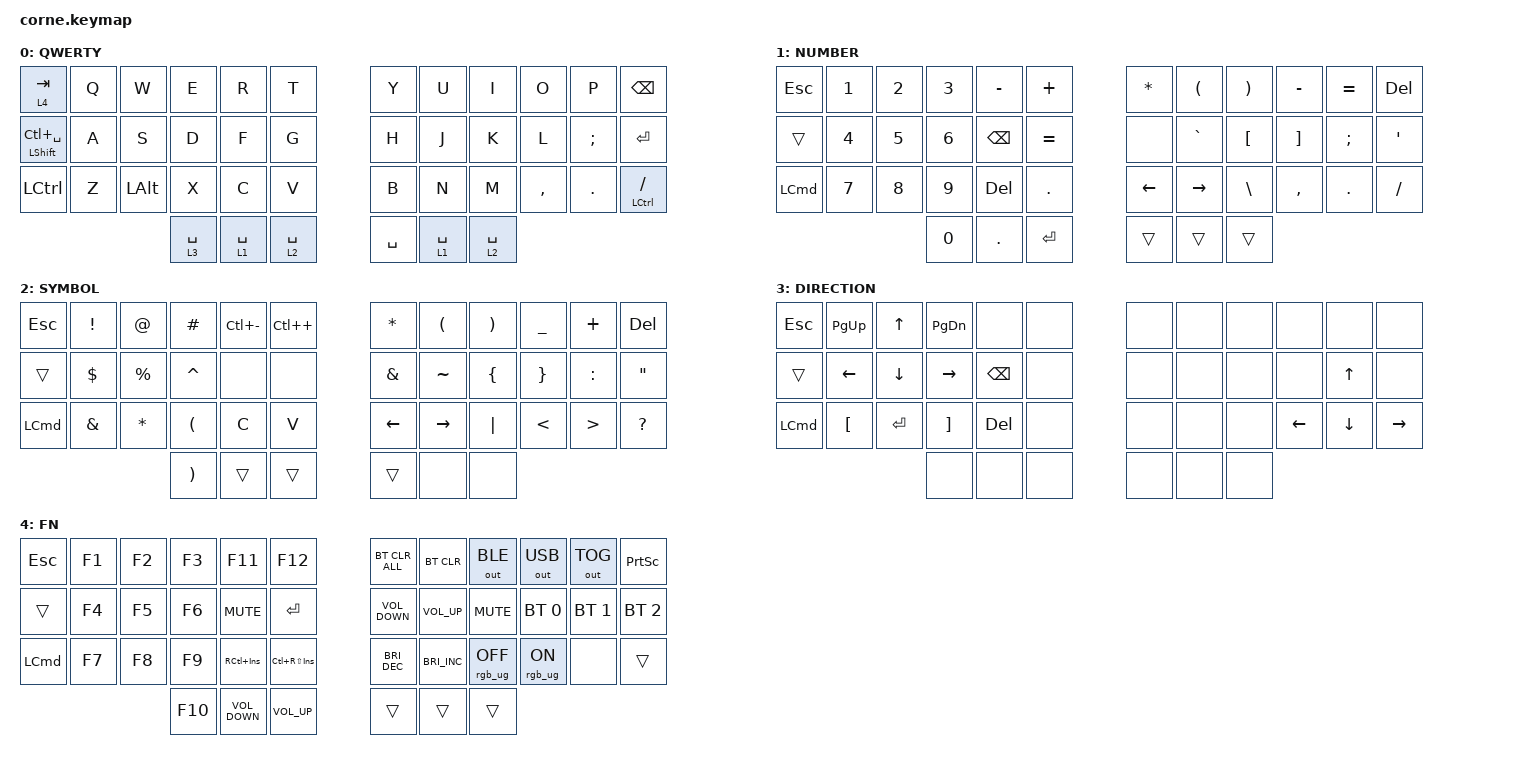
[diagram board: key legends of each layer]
/*
 * Copyright (c) 2020 The ZMK Contributors
 *
 * SPDX-License-Identifier: MIT
 */

#include <behaviors.dtsi>
#include <dt-bindings/zmk/bt.h>
#include <dt-bindings/zmk/keys.h>
#include <dt-bindings/zmk/outputs.h>
#include <dt-bindings/zmk/rgb.h>

/ {
    chosen {
        zmk,matrix_transform = &default_transform;

        // zmk,matrix_transform = &five_column_transform;
    };
};

/ {
    behaviors {
        td0: td0 {
            compatible = "zmk,behavior-tap-dance";
            label = "TD0";
            #binding-cells = <0>;
            bindings = <&kp LEFT_SHIFT>, <&kp CAPS>;
        };
    };

    keymap {
        compatible = "zmk,keymap";

        default_layer {
            display-name = "QWERTY";

            // --------------------------------------------------------------------------------
            // |  TAB |  Q  |  W  |  E  |  R  |  T  |   |  Y  |  U   |  I  |  O  |  P  | BKSP |
            // | CTRL |  A  |  S  |  D  |  F  |  G  |   |  H  |  J   |  K  |  L  |  ;  |  '   | 
            // | SHFT |  Z  |  X  |  C  |  V  |  B  |   |  N  |  M   |  ,  |  .  |  /  | ESC  |
            //                    | GUI | LWR | SPC |   | ENT | RSE  | ALT |

            bindings = <
&lt 4 TAB                 &kp Q  &kp W         &kp E        &kp R        &kp T          &kp Y      &kp U        &kp I        &kp O      &kp P     &kp BSPC
&mt LEFT_SHIFT LC(SPACE)  &kp A  &kp S         &kp D        &kp F        &kp G          &kp H      &kp J        &kp K        &kp L      &kp SEMI  &kp ENTER
&kp LCTRL                 &kp Z  &kp LEFT_ALT  &kp X        &kp C        &kp V          &kp B      &kp N        &kp M        &kp COMMA  &kp DOT   &mt LCTRL SLASH
                                               &lt 3 SPACE  &lt 1 SPACE  &lt 2 SPACE    &kp SPACE  &lt 1 SPACE  &lt 2 SPACE
            >;
        };

        lower_layer {
            display-name = "NUMBER";

            // -----------------------------------------------------------------------------------------
            // |  TAB |  1  |  2  |  3  |  4  |  5  |   |  6  |  7  |  8  |  9  |  0  | BKSP |
            // | BTCLR| BT1 | BT2 | BT3 | BT4 | BT5 |   | LFT | DWN |  UP | RGT |     |      |
            // | SHFT |     |     |     |     |     |   |     |     |     |     |     |      |
            //                    | GUI |     | SPC |   | ENT |     | ALT |

            bindings = <
&kp ESC           &kp NUMBER_1  &kp NUMBER_2  &kp NUMBER_3  &kp MINUS      &kp PLUS     &kp STAR  &kp LPAR   &kp RPAR       &kp MINUS  &kp EQUAL      &kp DELETE
&trans            &kp NUMBER_4  &kp NUMBER_5  &kp NUMBER_6  &kp BACKSPACE  &kp EQUAL    &none     &kp GRAVE  &kp LBKT       &kp RBKT   &kp SEMICOLON  &kp SQT
&kp LEFT_COMMAND  &kp NUMBER_7  &kp NUMBER_8  &kp NUMBER_9  &kp DELETE     &kp DOT      &kp LEFT  &kp RIGHT  &kp BACKSLASH  &kp COMMA  &kp DOT        &kp SLASH
                                              &kp NUMBER_0  &kp DOT        &kp ENTER    &trans    &trans     &trans
            >;
        };

        raise_layer {
            display-name = "SYMBOL";

            // -----------------------------------------------------------------------------------------
            // |  TAB |  !  |  @  |  #  |  $  |  %  |   |  ^  |  &  |  *  |  (  |  )  | BKSP |
            // | CTRL |     |     |     |     |     |   |  -  |  =  |  [  |  ]  |  \  |  `   |
            // | SHFT |     |     |     |     |     |   |  _  |  +  |  {  |  }  | "|" |  ~   |
            //                    | GUI |     | SPC |   | ENT |     | ALT |

            bindings = <
&kp ESCAPE        &kp EXCL  &kp AT     &kp HASH   &kp LC(MINUS)  &kp LC(PLUS)    &kp STAR  &kp LPAR   &kp RPAR  &kp UNDERSCORE  &kp PLUS   &kp DEL
&trans            &kp DLLR  &kp PRCNT  &kp CARET  &none          &none           &kp AMPS  &kp TILDE  &kp LBRC  &kp RBRC        &kp COLON  &kp DQT
&kp LEFT_COMMAND  &kp AMPS  &kp STAR   &kp LPAR   &kp C          &kp V           &kp LEFT  &kp RIGHT  &kp PIPE  &kp LT          &kp GT     &kp QMARK
                                       &kp RPAR   &trans         &trans          &trans    &none      &none
            >;
        };

        direction_layer {
            bindings = <
&kp ESC           &kp PAGE_UP       &kp UP     &kp PAGE_DOWN      &none          &none    &none  &none  &none  &none     &none     &none
&trans            &kp LEFT          &kp DOWN   &kp RIGHT          &kp BACKSPACE  &none    &none  &none  &none  &none     &kp UP    &none
&kp LEFT_COMMAND  &kp LEFT_BRACKET  &kp ENTER  &kp RIGHT_BRACKET  &kp DEL        &none    &none  &none  &none  &kp LEFT  &kp DOWN  &kp RIGHT
                                               &none              &none          &none    &none  &none  &none
            >;

            label = "DIRECTION";
        };

        F_layer {
            bindings = <
&kp ESCAPE        &kp F1  &kp F2  &kp F3   &kp F11            &kp F12               &bt BT_CLR_ALL        &bt BT_CLR            &out OUT_BLE     &out OUT_USB    &out OUT_TOG  &kp PRINTSCREEN
&trans            &kp F4  &kp F5  &kp F6   &kp K_MUTE         &kp ENTER             &kp C_VOLUME_DOWN     &kp C_VOLUME_UP       &kp K_MUTE       &bt BT_SEL 0    &bt BT_SEL 1  &bt BT_SEL 2
&kp LEFT_COMMAND  &kp F7  &kp F8  &kp F9   &kp RC(INSERT)     &kp LC(RS(INSERT))    &kp C_BRIGHTNESS_DEC  &kp C_BRIGHTNESS_INC  &rgb_ug RGB_OFF  &rgb_ug RGB_ON  &none         &trans
                                  &kp F10  &kp C_VOLUME_DOWN  &kp C_VOLUME_UP       &trans                &trans                &trans
            >;

            label = "FN";
        };
    };
};
